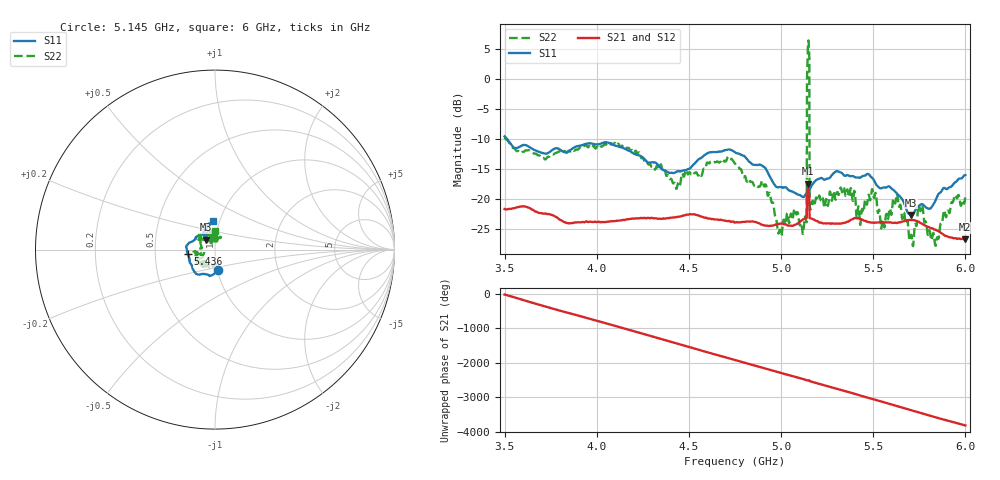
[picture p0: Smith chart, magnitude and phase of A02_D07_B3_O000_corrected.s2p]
! Created with skrf 1.9.0 (http://scikit-rf.org).
# Hz S RI R 50.0
!freq ReS11 ImS11 ReS21 ImS21 ReS12 ImS12 ReS22 ImS22
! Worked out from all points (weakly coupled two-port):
!   1601 points, 3.5 GHz to 6 GHz, reference 50 ohm
!   highest |S21| = -17.46 dB at 5.147 GHz (marker M1); lowest = -26.7 dB at 5.995 GHz (marker M2)
!   lowest |S11| = -22.7 dB at 5.706 GHz (marker M3), VSWR 1.16, Z = 45.1 + j4.98 ohm
!   |S11| at or under -10 dB: 3.514 GHz to end of sweep
!   |S22| runs from -27.9 to 6.4 dB; largest |S21 - S12| = 0.0014
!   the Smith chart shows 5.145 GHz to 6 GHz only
!   S11 on the Smith chart (normalised r, x): 5.145 GHz: 1.00, -0.23; 5.436 GHz: 0.74, -0.04; 6 GHz: 0.93, +0.30
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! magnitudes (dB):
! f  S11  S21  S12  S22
! 3.5 GHz  -9.6  -21.7  -21.7  -9.8
! 3.917 GHz  -11.1  -23.9  -23.9  -11.3
! 4.334 GHz  -14.4  -23.3  -23.3  -15.0
! 4.75 GHz  -12.2  -23.9  -23.9  -14.1
! 4.909 GHz  -14.7  -24.4  -24.3  -17.9
! 4.992 GHz  -18.0  -24.1  -24.1  -25.1
! 5.112 GHz  -19.6  -23.5  -23.5  -24.5
! 5.127 GHz  -19.5  -23.3  -23.3  -23.7
! 5.141 GHz  -18.8  -19.8  -19.8  -0.1
! 5.145 GHz  -18.7  -17.8  -17.8  5.1
! 5.147 GHz  -18.7  -17.5  -17.5  6.1
! 5.153 GHz  -18.5  -19.9  -19.8  3.7
! 5.167 GHz  -17.7  -23.3  -23.3  -20.6
! 5.331 GHz  -15.7  -24.1  -24.0  -18.9
! 5.436 GHz  -16.3  -23.4  -23.4  -22.2
! 5.584 GHz  -17.9  -23.9  -23.9  -22.5
! 5.636 GHz  -19.3  -23.9  -23.9  -20.6
! 5.706 GHz  -22.7  -23.5  -23.5  -26.0
! 5.755 GHz  -21.0  -24.0  -23.9  -21.9
! 5.844 GHz  -19.8  -25.2  -25.2  -26.8
! 5.995 GHz  -16.0  -26.7  -26.7  -20.5
! 6 GHz  -16.0  -26.7  -26.7  -19.6
